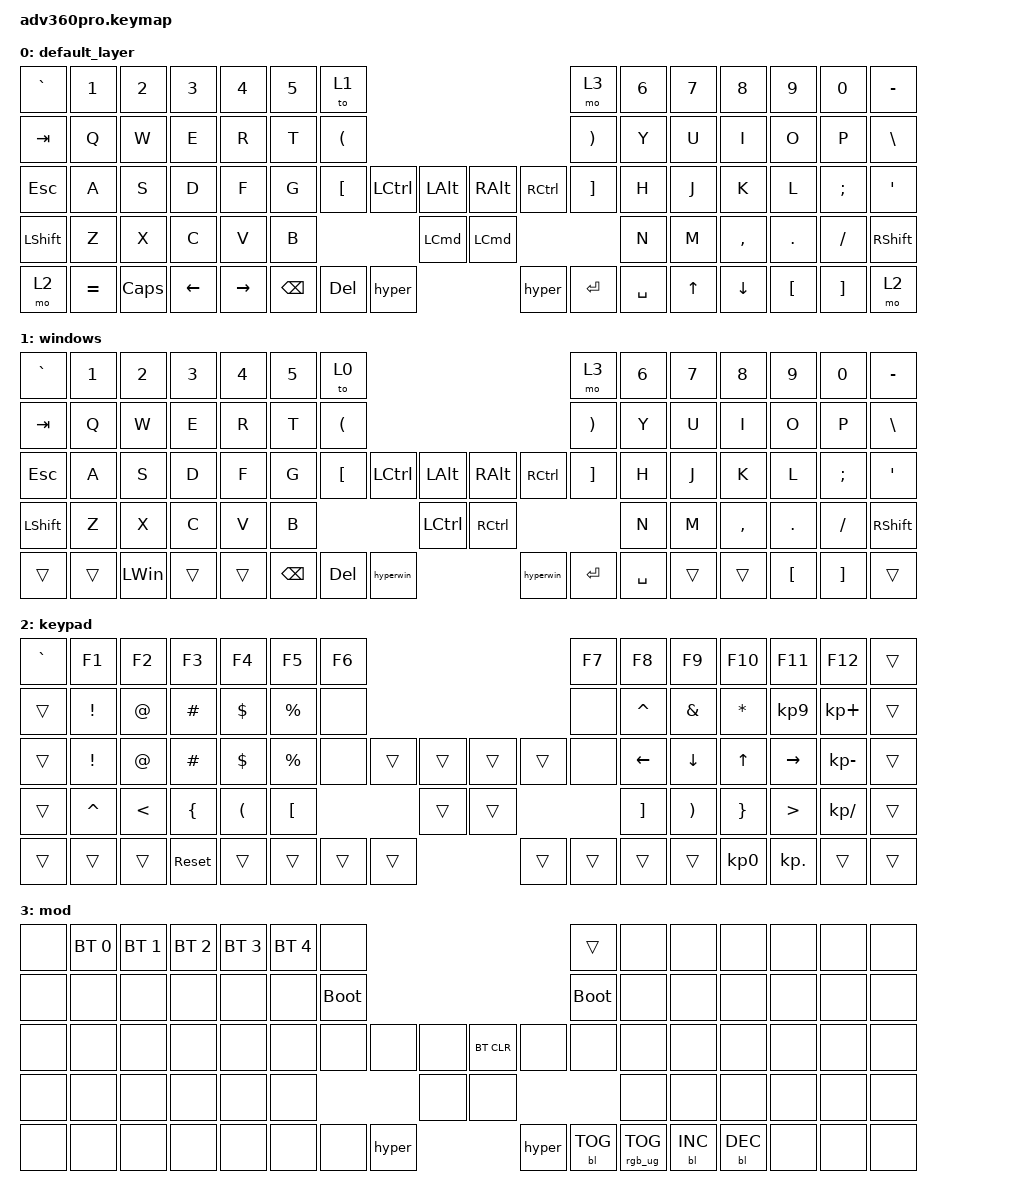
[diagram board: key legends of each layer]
#include <behaviors.dtsi>
#include <dt-bindings/zmk/backlight.h>
#include <dt-bindings/zmk/bt.h>
#include <dt-bindings/zmk/keys.h>
#include <dt-bindings/zmk/rgb.h>

/ {
    behaviors {
        hyper: hyper_key {
            compatible = "zmk,behavior-mod-morph";
            label = "HYPER_KEY";
            #binding-cells = <0>;
            bindings = <&kp LG(LC(LALT))>, <&kp LG(LC(LALT))>;

            mods = <(MOD_LGUI|MOD_LCTL|MOD_LALT)>;
        };

        hyperwin: hyperwin {
            compatible = "zmk,behavior-mod-morph";
            label = "HYPERWIN";
            bindings = <&kp LC(LG(LEFT_ALT))>, <&kp LC(LG(LEFT_ALT))>;

            #binding-cells = <0>;
            mods = <(MOD_LCTL|MOD_LGUI|MOD_LALT)>;
        };
    };

    keymap {
        compatible = "zmk,keymap";

        default_layer {
            bindings = <
&kp GRAVE  &kp N1     &kp N2        &kp N3    &kp N4     &kp N5  &to 1                                                                              &mo 3              &kp N6  &kp N7        &kp N8     &kp N9    &kp N0    &kp MINUS
&kp TAB    &kp Q      &kp W         &kp E     &kp R      &kp T   &kp LPAR                                                                           &kp RPAR           &kp Y   &kp U         &kp I      &kp O     &kp P     &kp BSLH
&kp ESC    &kp A      &kp S         &kp D     &kp F      &kp G   &kp LEFT_BRACKET            &kp LCTRL  &kp LALT    &kp RALT  &kp RCTRL             &kp RIGHT_BRACKET  &kp H   &kp J         &kp K      &kp L     &kp SEMI  &kp SQT
&kp LSHFT  &kp Z      &kp X         &kp C     &kp V      &kp B                                          &kp LCMD    &kp LCMD                                           &kp N   &kp M         &kp COMMA  &kp DOT   &kp FSLH  &kp RSHFT
&mo 2      &kp EQUAL  &kp CAPSLOCK  &kp LEFT  &kp RIGHT                            &kp BSPC  &kp DEL    &hyper      &hyper    &kp ENTER  &kp SPACE                             &kp UP_ARROW  &kp DOWN   &kp LBKT  &kp RBKT  &mo 2
            >;
        };

        windows {
            bindings = <
&kp GRAVE  &kp N1  &kp N2        &kp N3  &kp N4  &kp N5  &to 0                                                                                &mo 3              &kp N6  &kp N7  &kp N8     &kp N9    &kp N0    &kp MINUS
&kp TAB    &kp Q   &kp W         &kp E   &kp R   &kp T   &kp LPAR                                                                             &kp RPAR           &kp Y   &kp U   &kp I      &kp O     &kp P     &kp BSLH
&kp ESC    &kp A   &kp S         &kp D   &kp F   &kp G   &kp LEFT_BRACKET            &kp LCTRL  &kp LALT     &kp RALT   &kp RCTRL             &kp RIGHT_BRACKET  &kp H   &kp J   &kp K      &kp L     &kp SEMI  &kp SQT
&kp LSHFT  &kp Z   &kp X         &kp C   &kp V   &kp B                                          &kp LCTRL    &kp RCTRL                                           &kp N   &kp M   &kp COMMA  &kp DOT   &kp FSLH  &kp RSHFT
&trans     &trans  &kp LEFT_WIN  &trans  &trans                            &kp BSPC  &kp DEL    &hyperwin    &hyperwin  &kp ENTER  &kp SPACE                             &trans  &trans     &kp LBKT  &kp RBKT  &trans
            >;
        };

        keypad {
            bindings = <
&kp GRAVE  &kp F1           &kp F2         &kp F3      &kp F4                &kp F5            &kp F6                                                    &kp F7  &kp F8             &kp F9                 &kp F10          &kp F11           &kp F12        &trans
&trans     &kp EXCL         &kp AT         &kp HASH    &kp DOLLAR            &kp PERCENT       &none                                                     &none   &kp CARET          &kp AMPS               &kp ASTERISK     &kp KP_N9         &kp KP_PLUS    &trans
&trans     &kp EXCLAMATION  &kp AT         &kp POUND   &kp DOLLAR            &kp PERCENT       &none           &trans  &trans    &trans  &trans          &none   &kp LEFT           &kp DOWN               &kp UP_ARROW     &kp RIGHT         &kp KP_MINUS   &trans
&trans     &kp CARET        &kp LESS_THAN  &kp LBRC    &kp LEFT_PARENTHESIS  &kp LEFT_BRACKET                          &trans    &trans                          &kp RIGHT_BRACKET  &kp RIGHT_PARENTHESIS  &kp RIGHT_BRACE  &kp GREATER_THAN  &kp KP_DIVIDE  &trans
&trans     &trans           &trans         &sys_reset  &trans                                          &trans  &trans  &trans    &trans  &trans  &trans                             &trans                 &kp KP_N0        &kp KP_DOT        &trans         &trans
            >;
        };

        mod {
            bindings = <
&none  &bt BT_SEL 0  &bt BT_SEL 1  &bt BT_SEL 2  &bt BT_SEL 3  &bt BT_SEL 4  &none                                                                         &trans       &none  &none       &none       &none  &none  &none
&none  &none         &none         &none         &none         &none         &bootloader                                                                   &bootloader  &none  &none       &none       &none  &none  &none
&none  &none         &none         &none         &none         &none         &none               &none  &none     &bt BT_CLR  &none                        &none        &none  &none       &none       &none  &none  &none
&none  &none         &none         &none         &none         &none                                    &none     &none                                                 &none  &none       &none       &none  &none  &none
&none  &none         &none         &none         &none                                    &none  &none  &hyper    &hyper      &bl BL_TOG  &rgb_ug RGB_TOG                      &bl BL_INC  &bl BL_DEC  &none  &none  &none
            >;
        };
    };
};
